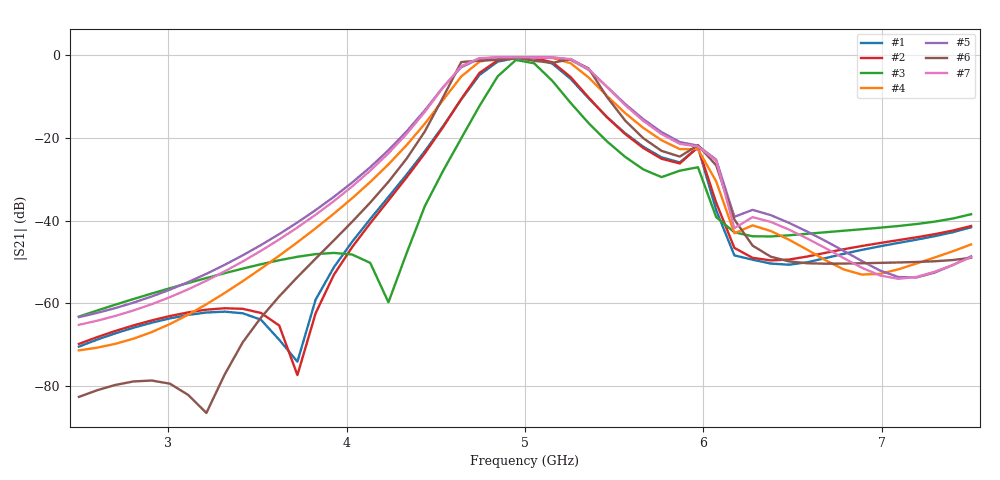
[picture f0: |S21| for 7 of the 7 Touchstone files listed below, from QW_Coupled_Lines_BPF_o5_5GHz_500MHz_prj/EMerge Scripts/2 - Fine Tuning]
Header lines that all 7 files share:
! Generated by EMerge - 2-port S-parameters
! --- Coupled-Line BPF 5000 MHz ---
! Substrate: RO4003C
! W50 = 1.1 mm, Lfeed = 5 mm
# GHZ S RI R 50
Fixed: h = 0.508 mm
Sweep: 2.5 GHz to 7.5 GHz
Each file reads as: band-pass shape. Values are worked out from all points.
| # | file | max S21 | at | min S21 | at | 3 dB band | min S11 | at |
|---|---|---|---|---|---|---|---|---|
| 1 | Coupled-Line BPF 5000 MHz_EMerge_2026-03-04_04-52-30.s2p | -0.68 dB | 4.949 GHz | -74.1 dB | 3.724 GHz | 4.847 GHz-5.153 GHz | -19.2 dB | 4.949 GHz |
| 2 | Coupled-Line BPF 5000 MHz_EMerge_2026-03-04_04-54-47.s2p | -0.65 dB | 4.949 GHz | -77.4 dB | 3.724 GHz | 4.847 GHz-5.153 GHz | -21.9 dB | 4.949 GHz |
| 3 | Coupled-Line BPF 5000 MHz_EMerge_2026-03-04_05-00-23.s2p | -1.13 dB | 4.949 GHz | -63.2 dB | 2.5 GHz | 4.949 GHz-5.051 GHz | -13.9 dB | 4.949 GHz |
| 4 | Coupled-Line BPF 5000 MHz_EMerge_2026-03-04_05-02-06.s2p | -0.50 dB | 5.051 GHz | -71.4 dB | 2.5 GHz | 4.745 GHz-5.255 GHz | -33.2 dB | 5.051 GHz |
| 5 | Coupled-Line BPF 5000 MHz_EMerge_2026-03-04_05-23-10.s2p | -0.47 dB | 4.949 GHz | -63.4 dB | 2.5 GHz | 4.643 GHz-5.255 GHz | -30.4 dB | 5.153 GHz |
| 6 | Coupled-Line BPF 5000 MHz_EMerge_2026-03-04_05-30-44.s2p | -0.55 dB | 4.949 GHz | -86.6 dB | 3.214 GHz | 4.643 GHz-5.357 GHz | -32.4 dB | 4.949 GHz |
| 7 | Coupled-Line BPF 5000 MHz_EMerge_2026-03-04_05-32-04.s2p | -0.46 dB | 4.949 GHz | -65.2 dB | 2.5 GHz | 4.643 GHz-5.357 GHz | -34.3 dB | 4.847 GHz |
